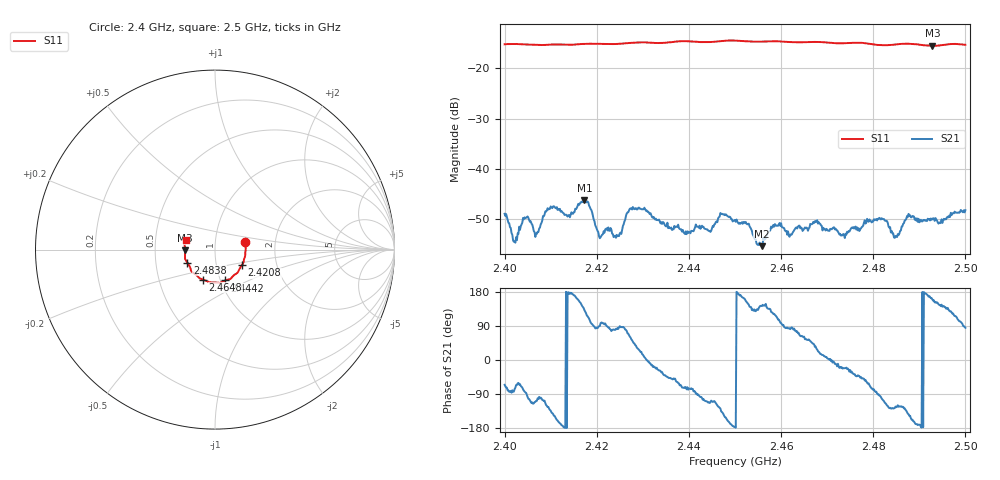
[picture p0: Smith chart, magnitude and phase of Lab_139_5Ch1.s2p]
# Hz S RI R 50
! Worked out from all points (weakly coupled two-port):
!   601 points, 2.4 GHz to 2.5 GHz, reference 50 ohm
!   highest |S21| = -46.25 dB at 2.4173 GHz (marker M1); lowest = -55.3 dB at 2.4558 GHz (marker M2)
!   lowest |S11| = -15.6 dB at 2.4928 GHz (marker M3), VSWR 1.40, Z = 35.7 - j0.333 ohm
!   |S11| at or under -10 dB: start of sweep to end of sweep
!   S12 and S22 are empty: the file has one direction only
!   S11 on the Smith chart (normalised r, x): 2.4 GHz: 1.40, +0.12; 2.4208 GHz: 1.33, -0.24; 2.4442 GHz: 1.05, -0.37; 2.4648 GHz: 0.83, -0.29; 2.4838 GHz: 0.73, -0.11; 2.5 GHz: 0.72, +0.08
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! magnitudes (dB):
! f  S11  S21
! 2.4 GHz  -15.3  -48.9
! 2.4022 GHz  -15.2  -54.4
! 2.4045 GHz  -15.3  -49.8
! 2.4068 GHz  -15.4  -52.8
! 2.4097 GHz  -15.4  -47.9
! 2.4167 GHz  -15.2  -46.6
! 2.4173 GHz  -15.2  -46.2
! 2.4208 GHz  -15.2  -53.6
! 2.4248 GHz  -15.2  -53.3
! 2.4275 GHz  -15.0  -47.8
! 2.4333 GHz  -15.0  -50.2
! 2.4442 GHz  -14.9  -52.2
! 2.4472 GHz  -14.6  -48.9
! 2.45 GHz  -14.5  -50.1
! 2.4558 GHz  -14.8  -55.3
! 2.4583 GHz  -14.7  -51.1
! 2.4648 GHz  -14.9  -52.1
! 2.4667 GHz  -14.8  -51.0
! 2.4833 GHz  -15.4  -51.5
! 2.4838 GHz  -15.4  -52.6
! 2.4928 GHz  -15.6  -50.0
! 2.5 GHz  -15.4  -48.2
